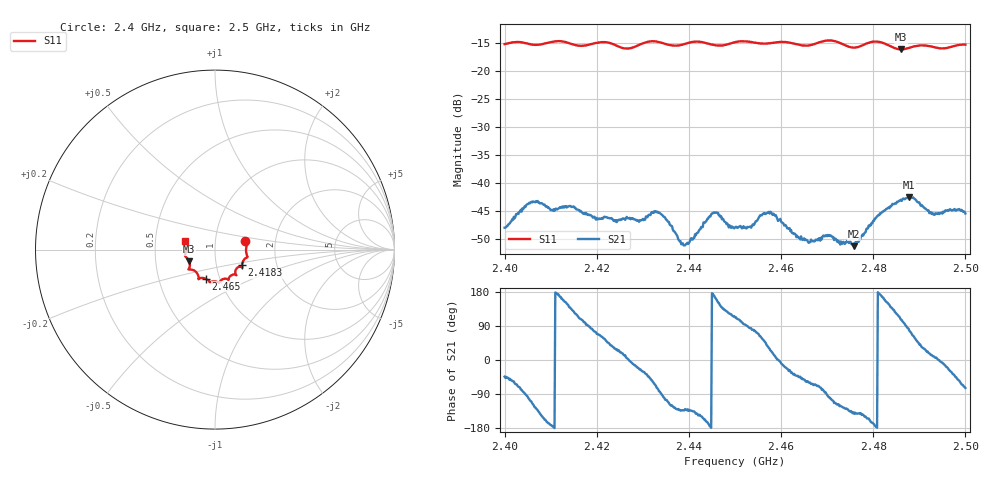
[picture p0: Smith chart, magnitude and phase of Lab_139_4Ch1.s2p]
# Hz S RI R 50
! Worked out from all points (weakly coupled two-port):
!   601 points, 2.4 GHz to 2.5 GHz, reference 50 ohm
!   highest |S21| = -42.51 dB at 2.4878 GHz (marker M1); lowest = -51.3 dB at 2.4758 GHz (marker M2)
!   lowest |S11| = -16.1 dB at 2.486 GHz (marker M3), VSWR 1.37, Z = 37.2 - j4.96 ohm
!   |S11| at or under -10 dB: start of sweep to end of sweep
!   S12 and S22 are empty: the file has one direction only
!   S11 on the Smith chart (normalised r, x): 2.4 GHz: 1.40, +0.13; 2.4183 GHz: 1.33, -0.24; 2.465 GHz: 0.86, -0.29; 2.5 GHz: 0.71, +0.07
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2.4e9  0.1693 0.046  0.00289 -0.00277  0 0  0 0
2.405833e9  0.1737 0.0109  -0.00237 -0.0064  0 0  0 0
2.411833e9  0.1819 -0.041  -0.00588 0.00107  0 0  0 0
2.416667e9  0.155 -0.068  -0.0016 0.00533  0 0  0 0
2.418333e9  0.1501 -0.0871  0.000162 0.00518  0 0  0 0
2.429167e9  0.1123 -0.1306  0.00416 -0.00175  0 0  0 0
2.433333e9  0.1174 -0.1409  0.00117 -0.00532  0 0  0 0
2.438833e9  0.0784 -0.1559  -0.00188 -0.00205  0 0  0 0
2.445333e9  0.0591 -0.162  -0.00534 0.000823  0 0  0 0
2.45e9  0.0254 -0.1808  -0.00155 0.00371  0 0  0 0
2.4535e9  0.0171 -0.1824  0.000431 0.00397  0 0  0 0
2.4575e9  -0.0142 -0.1778  0.00465 0.00265  0 0  0 0
2.465e9  -0.0522 -0.1618  0.00199 -0.00253  0 0  0 0
2.466667e9  -0.0713 -0.1575  0.00137 -0.00271  0 0  0 0
2.470167e9  -0.0923 -0.165  -0.000309 -0.00343  0 0  0 0
2.475833e9  -0.1085 -0.1218  -0.00215 -0.00169  0 0  0 0
2.480167e9  -0.1478 -0.1109  -0.00453 -0.000843  0 0  0 0
2.483333e9  -0.1413 -0.0963  -0.00513 0.00325  0 0  0 0
2.486e9  -0.1432 -0.065  -0.00206 0.00682  0 0  0 0
2.487833e9  -0.1554 -0.0478  0.00163 0.00731  0 0  0 0
2.492833e9  -0.1644 -0.0216  0.00533 0.00106  0 0  0 0
2.5e9  -0.167 0.047  0.00149 -0.00515  0 0  0 0
